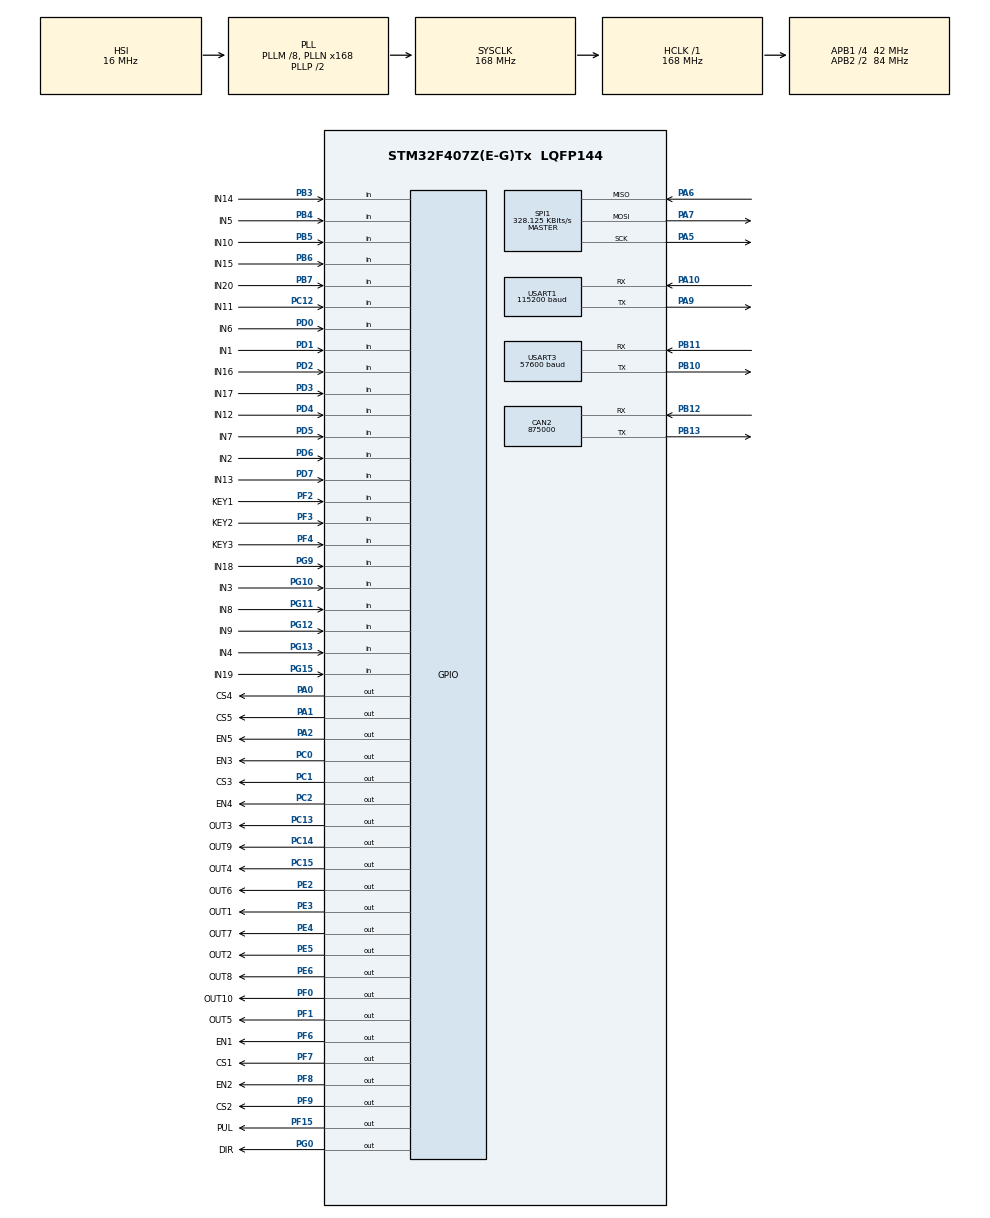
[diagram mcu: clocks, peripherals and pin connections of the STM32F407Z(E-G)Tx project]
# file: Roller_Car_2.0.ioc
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CAN2.CalculateBaudRate=875000
CAN2.CalculateTimeBit=1142
CAN2.CalculateTimeQuantum=380.95238095238096
FREERTOS.Tasks01=defaultTask,24,128,StartDefaultTask,Default,NULL,Dynamic,NULL,NULL
Mcu.Family=STM32F4
Mcu.Name=STM32F407Z(E-G)Tx
Mcu.Package=LQFP144
NVIC.PriorityGroup=NVIC_PRIORITYGROUP_4
NVIC.RCC_IRQn=true\:5\:0\:false\:false\:true\:true\:true\:false\:true
NVIC.SPI1_IRQn=true\:5\:0\:false\:false\:true\:true\:true\:true\:true
NVIC.TIM3_IRQn=true\:6\:0\:true\:false\:true\:true\:true\:true\:true
NVIC.TIM4_IRQn=true\:15\:0\:false\:false\:true\:false\:false\:true\:true
NVIC.TimeBase=TIM4_IRQn
NVIC.TimeBaseIP=TIM4
NVIC.USART1_IRQn=true\:5\:0\:false\:false\:true\:true\:true\:true\:true
PA0-WKUP.GPIO_Label=CS4
PA0-WKUP.GPIO_PuPd=GPIO_PULLUP
PA0-WKUP.GPIO_Speed=GPIO_SPEED_FREQ_VERY_HIGH
PA0-WKUP.PinState=GPIO_PIN_SET
PA0-WKUP.Signal=GPIO_Output
PA1.GPIO_Label=CS5
PA1.GPIO_PuPd=GPIO_PULLUP
PA1.GPIO_Speed=GPIO_SPEED_FREQ_VERY_HIGH
PA1.PinState=GPIO_PIN_SET
PA1.Signal=GPIO_Output
PA10.Mode=Asynchronous
PA10.Signal=USART1_RX
PA13.Mode=Serial_Wire
PA13.Signal=SYS_JTMS-SWDIO
PA14.Mode=Serial_Wire
PA14.Signal=SYS_JTCK-SWCLK
PA2.GPIO_Label=EN5
PA2.GPIO_PuPd=GPIO_PULLUP
PA2.GPIO_Speed=GPIO_SPEED_FREQ_VERY_HIGH
PA2.PinState=GPIO_PIN_SET
PA2.Signal=GPIO_Output
PA5.Mode=Full_Duplex_Master
PA5.Signal=SPI1_SCK
PA6.Mode=Full_Duplex_Master
PA6.Signal=SPI1_MISO
PA7.Mode=Full_Duplex_Master
PA7.Signal=SPI1_MOSI
PA9.Mode=Asynchronous
PA9.Signal=USART1_TX
PB10.Mode=Asynchronous
PB10.Signal=USART3_TX
PB11.Mode=Asynchronous
PB11.Signal=USART3_RX
PB12.Mode=CAN_Activate
PB12.Signal=CAN2_RX
PB13.Mode=CAN_Activate
PB13.Signal=CAN2_TX
PB3.GPIO_Label=IN14
PB3.GPIO_PuPd=GPIO_PULLDOWN
PB3.Signal=GPIO_Input
PB4.GPIO_Label=IN5
PB4.GPIO_PuPd=GPIO_PULLDOWN
PB4.Signal=GPIO_Input
PB5.GPIO_Label=IN10
PB5.GPIO_PuPd=GPIO_PULLDOWN
PB5.Signal=GPIO_Input
PB6.GPIO_Label=IN15
PB6.GPIO_PuPd=GPIO_PULLDOWN
PB6.Signal=GPIO_Input
PB7.GPIO_Label=IN20
PB7.GPIO_PuPd=GPIO_PULLDOWN
PB7.Signal=GPIO_Input
PC0.GPIO_Label=EN3
PC0.GPIO_PuPd=GPIO_PULLUP
PC0.GPIO_Speed=GPIO_SPEED_FREQ_VERY_HIGH
PC0.PinState=GPIO_PIN_SET
PC0.Signal=GPIO_Output
PC1.GPIO_Label=CS3
PC1.GPIO_PuPd=GPIO_PULLUP
PC1.GPIO_Speed=GPIO_SPEED_FREQ_VERY_HIGH
PC1.PinState=GPIO_PIN_SET
PC1.Signal=GPIO_Output
PC12.GPIO_Label=IN11
PC12.GPIO_PuPd=GPIO_PULLUP
PC12.Signal=GPIO_Input
PC13-ANTI_TAMP.GPIO_Label=OUT3
PC13-ANTI_TAMP.GPIO_PuPd=GPIO_PULLDOWN
PC13-ANTI_TAMP.Signal=GPIO_Output
PC14-OSC32_IN.GPIO_Label=OUT9
PC14-OSC32_IN.GPIO_PuPd=GPIO_PULLDOWN
PC14-OSC32_IN.Signal=GPIO_Output
PC15-OSC32_OUT.GPIO_Label=OUT4
PC15-OSC32_OUT.GPIO_PuPd=GPIO_PULLDOWN
PC15-OSC32_OUT.Signal=GPIO_Output
PC2.GPIO_Label=EN4
PC2.GPIO_PuPd=GPIO_PULLUP
PC2.GPIO_Speed=GPIO_SPEED_FREQ_VERY_HIGH
PC2.PinState=GPIO_PIN_SET
PC2.Signal=GPIO_Output
PD0.GPIO_Label=IN6
PD0.GPIO_PuPd=GPIO_PULLDOWN
PD0.Signal=GPIO_Input
PD1.GPIO_Label=IN1
PD1.GPIO_PuPd=GPIO_PULLDOWN
PD1.Signal=GPIO_Input
PD2.GPIO_Label=IN16
PD2.GPIO_PuPd=GPIO_PULLDOWN
PD2.Signal=GPIO_Input
PD3.GPIO_Label=IN17
PD3.Signal=GPIO_Input
PD4.GPIO_Label=IN12
PD4.Signal=GPIO_Input
PD5.GPIO_Label=IN7
PD5.GPIO_PuPd=GPIO_PULLDOWN
PD5.Signal=GPIO_Input
PD6.GPIO_Label=IN2
PD6.GPIO_PuPd=GPIO_PULLDOWN
PD6.Signal=GPIO_Input
PD7.GPIO_Label=IN13
PD7.GPIO_PuPd=GPIO_PULLDOWN
PD7.Signal=GPIO_Input
PE2.GPIO_Label=OUT6
PE2.GPIO_PuPd=GPIO_PULLDOWN
PE2.Signal=GPIO_Output
PE3.GPIO_Label=OUT1
PE3.GPIO_PuPd=GPIO_PULLDOWN
PE3.Signal=GPIO_Output
PE4.GPIO_Label=OUT7
PE4.GPIO_PuPd=GPIO_PULLDOWN
PE4.Signal=GPIO_Output
PE5.GPIO_Label=OUT2
PE5.GPIO_PuPd=GPIO_PULLDOWN
PE5.Signal=GPIO_Output
PE6.GPIO_Label=OUT8
PE6.GPIO_PuPd=GPIO_PULLDOWN
PE6.Signal=GPIO_Output
PF0.GPIO_Label=OUT10
PF0.GPIO_PuPd=GPIO_PULLDOWN
PF0.Signal=GPIO_Output
PF1.GPIO_Label=OUT5
PF1.GPIO_PuPd=GPIO_PULLDOWN
PF1.Signal=GPIO_Output
PF15.GPIO_Label=PUL
PF15.GPIO_Speed=GPIO_SPEED_FREQ_VERY_HIGH
PF15.Signal=GPIO_Output
PF2.GPIO_Label=KEY1
PF2.GPIO_PuPd=GPIO_PULLUP
PF2.Signal=GPIO_Input
PF3.GPIO_Label=KEY2
PF3.GPIO_PuPd=GPIO_PULLUP
PF3.Signal=GPIO_Input
PF4.GPIO_Label=KEY3
PF4.GPIO_PuPd=GPIO_PULLUP
PF4.Signal=GPIO_Input
PF6.GPIO_Label=EN1
PF6.GPIO_PuPd=GPIO_PULLUP
PF6.GPIO_Speed=GPIO_SPEED_FREQ_VERY_HIGH
PF6.PinState=GPIO_PIN_SET
PF6.Signal=GPIO_Output
PF7.GPIO_Label=CS1
PF7.GPIO_PuPd=GPIO_PULLUP
PF7.GPIO_Speed=GPIO_SPEED_FREQ_VERY_HIGH
PF7.PinState=GPIO_PIN_SET
PF7.Signal=GPIO_Output
PF8.GPIO_Label=EN2
PF8.GPIO_PuPd=GPIO_PULLUP
PF8.GPIO_Speed=GPIO_SPEED_FREQ_VERY_HIGH
PF8.PinState=GPIO_PIN_SET
PF8.Signal=GPIO_Output
PF9.GPIO_Label=CS2
PF9.GPIO_PuPd=GPIO_PULLUP
PF9.GPIO_Speed=GPIO_SPEED_FREQ_VERY_HIGH
PF9.PinState=GPIO_PIN_SET
PF9.Signal=GPIO_Output
PG0.GPIO_Label=DIR
PG0.GPIO_Speed=GPIO_SPEED_FREQ_VERY_HIGH
PG0.Signal=GPIO_Output
PG10.GPIO_Label=IN3
PG10.GPIO_PuPd=GPIO_PULLDOWN
PG10.Signal=GPIO_Input
PG11.GPIO_Label=IN8
PG11.GPIO_PuPd=GPIO_PULLDOWN
PG11.Signal=GPIO_Input
PG12.GPIO_Label=IN9
PG12.GPIO_PuPd=GPIO_PULLDOWN
PG12.Signal=GPIO_Input
PG13.GPIO_Label=IN4
PG13.GPIO_PuPd=GPIO_PULLDOWN
PG13.Signal=GPIO_Input
PG15.GPIO_Label=IN19
PG15.GPIO_PuPd=GPIO_PULLDOWN
PG15.Signal=GPIO_Input
PG9.GPIO_Label=IN18
PG9.GPIO_PuPd=GPIO_PULLDOWN
PG9.Signal=GPIO_Input
PH0-OSC_IN.Mode=HSE-External-Oscillator
PH0-OSC_IN.Signal=RCC_OSC_IN
PH1-OSC_OUT.Mode=HSE-External-Oscillator
PH1-OSC_OUT.Signal=RCC_OSC_OUT
ProjectManager.HeapSize=0x200
ProjectManager.StackSize=0x400
ProjectManager.TargetToolchain=MDK-ARM V5.32
RCC.48MHZClocksFreq_Value=84000000
RCC.AHBFreq_Value=168000000
RCC.APB1CLKDivider=RCC_HCLK_DIV4
RCC.APB1Freq_Value=42000000
RCC.APB1TimFreq_Value=84000000
RCC.APB2CLKDivider=RCC_HCLK_DIV2
RCC.APB2Freq_Value=84000000
RCC.APB2TimFreq_Value=168000000
RCC.CortexFreq_Value=168000000
RCC.HCLKFreq_Value=168000000
RCC.HSE_VALUE=25000000
RCC.HSI_VALUE=16000000
RCC.LSE_VALUE=32768
RCC.PLLM=8
RCC.PLLN=168
RCC.SYSCLKFreq_VALUE=168000000
RCC.SYSCLKSource=RCC_SYSCLKSOURCE_PLLCLK
RCC.VCOOutputFreq_Value=336000000
SPI1.BaudRatePrescaler=SPI_BAUDRATEPRESCALER_256
SPI1.CalculateBaudRate=328.125 KBits/s
SPI1.Direction=SPI_DIRECTION_2LINES
SPI1.Mode=SPI_MODE_MASTER
SPI1.VirtualType=VM_MASTER
TIM3.Period=7200-1
TIM3.Prescaler=10-1
USART1.BaudRate=115200
USART1.VirtualMode=VM_ASYNC
USART3.BaudRate=57600
USART3.VirtualMode=VM_ASYNC
VP_FREERTOS_VS_CMSIS_V2.Mode=CMSIS_V2
VP_SYS_VS_tim4.Mode=TIM4
VP_TIM3_VS_ClockSourceINT.Mode=Internal
board=custom

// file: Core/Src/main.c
/* USER CODE BEGIN Header */
/**
  ******************************************************************************
  * @file           : main.c
  * @brief          : Main program body
  ******************************************************************************
  * @attention
  *
  * Copyright (c) 2025 STMicroelectronics.
  * All rights reserved.
  *
  * This software is licensed under terms that can be found in the LICENSE file
  * in the root directory of this software component.
  * If no LICENSE file comes with this software, it is provided AS-IS.
  *
  ******************************************************************************
  */
/* USER CODE END Header */
#include "main.h"
#include "cmsis_os.h"
#include "can.h"
#include "spi.h"
#include "tim.h"
#include "usart.h"
#include "gpio.h"

/* USER CODE BEGIN Includes */
#include "stdio.h"
#include "mytask.h"
#include "W25Q64.h"
#include "motor.h"
#include "tmc5160.h"
/* USER CODE END Includes */

void SystemClock_Config(void);
void MX_FREERTOS_Init(void);

int main(void)
{

  /* MCU Configuration--------------------------------------------------------*/

  /* Reset of all peripherals, Initializes the Flash interface and the Systick. */
  HAL_Init();

  /* Configure the system clock */
  SystemClock_Config();

  /* Initialize all configured peripherals */
  MX_GPIO_Init();
  MX_USART1_UART_Init();
  MX_TIM3_Init();
  MX_CAN2_Init();
  MX_USART3_UART_Init();
  MX_SPI1_Init();
  /* USER CODE BEGIN 2 */
	W25Q64_Init();
	Servo_Init();
	motor_en(1,1);
	HAL_Delay(1);
	motor_en(2,1);
	HAL_Delay(1);
	motor_en(3,1);
	HAL_Delay(1);
	motor_en(4,1);
	HAL_Delay(1);
	motor_en(5,1);
	HAL_Delay(1);
	TMC5160_CS1_Init(10);
	HAL_Delay(1);
	TMC5160_CS2_Init(10);
	HAL_Delay(1);
	TMC5160_CS3_Init(10);
	HAL_Delay(1);
	TMC5160_CS4_Init(10);
	HAL_Delay(1);
	TMC5160_CS5_Init(10);
	HAL_Delay(1);
	extern uint8_t screen_rx_byte[1];
	HAL_UART_Receive_IT(&huart1,screen_rx_byte,1);
	extern uint8_t servo_rx_byte[1];
	HAL_UART_Receive_IT(&huart3,servo_rx_byte,1);

  /* USER CODE END 2 */

  /* Init scheduler */
  osKernelInitialize();

  /* Call init function for freertos objects (in cmsis_os2.c) */
  MX_FREERTOS_Init();
	start_task();
  /* Start scheduler */
  osKernelStart();

  /* We should never get here as control is now taken by the scheduler */

  /* Infinite loop */
  while (1)
  {

  }
}

void SystemClock_Config(void)
{
  RCC_OscInitTypeDef RCC_OscInitStruct = {0};
  RCC_ClkInitTypeDef RCC_ClkInitStruct = {0};

  /** Configure the main internal regulator output voltage
  */
  __HAL_RCC_PWR_CLK_ENABLE();
  __HAL_PWR_VOLTAGESCALING_CONFIG(PWR_REGULATOR_VOLTAGE_SCALE1);

  /** Initializes the RCC Oscillators according to the specified parameters
  * in the RCC_OscInitTypeDef structure.
  */
  RCC_OscInitStruct.OscillatorType = RCC_OSCILLATORTYPE_HSI;
  RCC_OscInitStruct.HSIState = RCC_HSI_ON;
  RCC_OscInitStruct.HSICalibrationValue = RCC_HSICALIBRATION_DEFAULT;
  RCC_OscInitStruct.PLL.PLLState = RCC_PLL_ON;
  RCC_OscInitStruct.PLL.PLLSource = RCC_PLLSOURCE_HSI;
  RCC_OscInitStruct.PLL.PLLM = 8;
  RCC_OscInitStruct.PLL.PLLN = 168;
  RCC_OscInitStruct.PLL.PLLP = RCC_PLLP_DIV2;
  RCC_OscInitStruct.PLL.PLLQ = 4;
  if (HAL_RCC_OscConfig(&RCC_OscInitStruct) != HAL_OK)
  {
    Error_Handler();
  }

  /** Initializes the CPU, AHB and APB buses clocks
  */
  RCC_ClkInitStruct.ClockType = RCC_CLOCKTYPE_HCLK|RCC_CLOCKTYPE_SYSCLK
                              |RCC_CLOCKTYPE_PCLK1|RCC_CLOCKTYPE_PCLK2;
  RCC_ClkInitStruct.SYSCLKSource = RCC_SYSCLKSOURCE_PLLCLK;
  RCC_ClkInitStruct.AHBCLKDivider = RCC_SYSCLK_DIV1;
  RCC_ClkInitStruct.APB1CLKDivider = RCC_HCLK_DIV4;
  RCC_ClkInitStruct.APB2CLKDivider = RCC_HCLK_DIV2;

  if (HAL_RCC_ClockConfig(&RCC_ClkInitStruct, FLASH_LATENCY_5) != HAL_OK)
  {
    Error_Handler();
  }
}

void HAL_TIM_PeriodElapsedCallback(TIM_HandleTypeDef *htim)
{
  if (htim->Instance == TIM4) {
    HAL_IncTick();
  }
}

void Error_Handler(void)
{
  __disable_irq();
  while (1)
  {
  }
}
